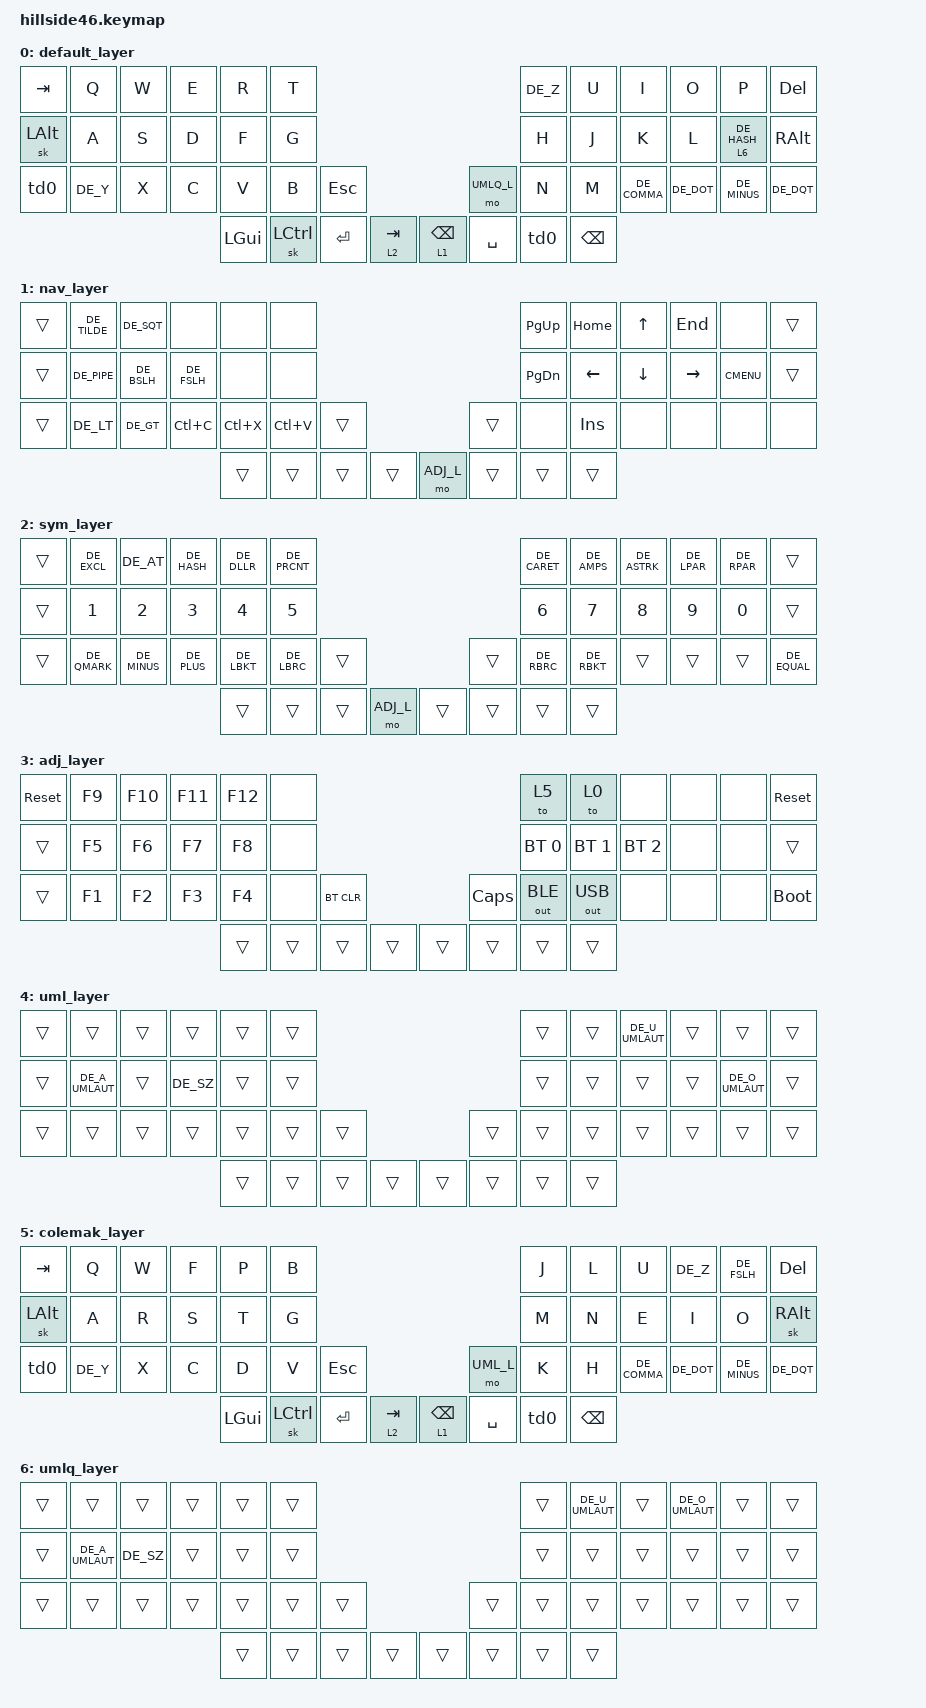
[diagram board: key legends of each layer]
/*
 * Copyright (c) 2021-2022 The ZMK Contributors
 *
 * SPDX-License-Identifier: MIT
 */

#include <behaviors.dtsi>
#include <dt-bindings/zmk/bt.h>
#include <dt-bindings/zmk/ext_power.h>
#include <dt-bindings/zmk/keys.h>
#include <dt-bindings/zmk/outputs.h>
#include "keys_de.h"

#define QWERTZ_L 0
#define NAV_L    1
#define SYM_L    2
#define ADJ_L    3
#define UML_L    4
#define COLEMK_L 5
#define UMLQ_L   6
#define Undo   LC(Z)
#define Cut    LC(X)
#define Copy   LC(C)
#define Paste  LC(V)
#define Redo   LC(Y)


/ {

        conditional_layers {
	    compatible = "zmk,conditional-layers";
	    tri_layer {
	        if-layers = <1 2>;
	        then-layer = <3>;
	    };
        };
        behaviors {
            td0: tap_dance_0 {
                compatible = "zmk,behavior-tap-dance";
                #binding-cells = <0>;
                tapping-term-ms = <200>;
                bindings = <&sk LSHIFT>, <&caps_word>, <&kp CAPS>;
            };
        };

        keymap {
                compatible = "zmk,keymap";

                default_layer {
/* QWERTZ
 * -------------------------------------------------------------------------------------------------------------------------------------
 * | `     |   Q   |   W   |   E   |   R   |   T   |-----------------------------------|   Z   |   U   |   I   |   O   |   P   | BKSPC |
 * | TAB   |   A   |   S   |   D   |   F   |   G   |-----------------------------------|   H   |   J   |   K   |   L   |   ;   | ENTER |
 * | CTRL  |   Y   |   X   |   C   |   V   |   B   |  ESC  |-------------------|  Uml  |   N   |   M   |   ,   |   .   |   /   |   '   |
 *                                 |  GUI  |  CTRL | ENTER |  Sym  |---|  Nav  | SPACE | SHIFT | BKSPC |
 */
                        bindings = <
&kp  TAB     &kp  Q        &kp  W        &kp  E        &kp  R        &kp  T                                                                         &kp  DE_Z        &kp  U        &kp  I        &kp  O        &kp  P         &kp  DELETE
&sk  LALT    &kp  A        &kp  S        &kp  D        &kp  F        &kp  G                                                                         &kp  H           &kp  J        &kp  K        &kp  L        &lt 6 DE_HASH  &kp  RALT  
&td0         &kp  DE_Y     &kp  X        &kp  C        &kp  V        &kp  B        &kp  ESC                                           &mo  UMLQ_L   &kp  N           &kp  M        &kp  DE_COMMA &kp  DE_DOT   &kp  DE_MINUS  &kp  DE_DQT
                                                       &kp  LGUI     &sk  LCTRL    &kp  ENTER     &lt 2 TAB          &lt 1 BSPC       &kp  SPACE    &td0             &kp  BSPC
                        >;
                };
		
                nav_layer {
/* NAV   
 * -------------------------------------------------------------------------------------------------------------------------------------
 * |       |   ~   |   '   |       |       |       |-----------------------------------| PG UP |  Home |   Up  | End   |       |       |
 * |       |   |   |   \   |   /   |       |       |-----------------------------------| PG DN |  Left |  Down | Right | Menu  |       |
 * |       |   <   |   >   | Copy  |  Cut  | Paste |       |-------------------|       |       |  Ins  |       |       |       |       |
 *                                 |       |       |       |       |---| ADJ_L |       |       |       |
 */
                        bindings = <
&trans        &kp  DE_TILDE &kp  DE_SQT   &none         &none         &none                                                                          &kp   PG_UP   &kp  HOME    &kp   UP      &kp   END     &none         &trans
&trans        &kp  DE_PIPE  &kp  DE_BSLH  &kp  DE_FSLH  &none         &none                                                                          &kp   PG_DN   &kp  LEFT    &kp   DOWN    &kp   RIGHT   &kp  K_CMENU  &trans
&trans        &kp  DE_LT    &kp  DE_GT    &kp  Copy     &kp  Cut      &kp  Paste    &trans                                             &trans        &none         &kp  INS     &none         &none         &none         &none
                                                        &trans        &trans        &trans        &trans                 &mo ADJ_L     &trans        &trans        &trans 
                        >;
                };

                sym_layer {
/* SYM
 * -------------------------------------------------------------------------------------------------------------------------------------
 * |       |   !   |   @   |   #   |   $   |   %   |-----------------------------------|   ^   |   &   |   *   |   (   |   )   |       |
 * |       |   1   |   2   |   3   |   4   |   5   |-----------------------------------|   6   |   7   |   8   |   9   |   0   |       |
 * |       |   ?   |   -   |   +   |   [   |   {   |       |-------------------|       |   }   |   ]   |       |       |       |   =   |
 *                                 |       |       |       |  ADJ_L |---|      |       |       |       |
 */
                        bindings = <
&trans        &kp  DE_EXCL  &kp  DE_AT    &kp  DE_HASH  &kp  DE_DLLR  &kp  DE_PRCNT                                                                  &kp  DE_CARET &kp  DE_AMPS &kp  DE_ASTRK &kp  DE_LPAR  &kp  DE_RPAR  &trans
&trans        &kp  N1       &kp  N2       &kp  N3       &kp  N4       &kp  N5                                                                        &kp  N6       &kp  N7      &kp  N8       &kp  N9       &kp  N0       &trans
&trans        &kp  DE_QMARK &kp  DE_MINUS &kp  DE_PLUS  &kp  DE_LBKT  &kp  DE_LBRC  &trans                                             &trans        &kp  DE_RBRC  &kp  DE_RBKT &trans        &trans        &trans        &kp DE_EQUAL
                                                        &trans        &trans        &trans       &mo  ADJ_L               &trans       &trans        &trans        &trans
                        >;
                };
		
                adj_layer {
/* ADJUST
 * -------------------------------------------------------------------------------------------------------------------------------------
 * | RESET |  F9   |  F10  |  F11  |  F12  |       |-----------------------------------| CMK   | QWERTZ|       |       |       | RESET |
 * |       |  F5   |  F6   |  F7   |  F8   |       |-----------------------------------| BT 0  |  BT 1 | BT 2  |       |       |       |
 * |       |  F1   |  F2   |  F3   |  F4   |       |BT CLR |-------------------| CAPS  |OUT_BLE|OUT_USB|       |       |       | BOOTL |
 *                                 |       |       |       |       |---|       |       |       |       |
 */
                        bindings = <
&sys_reset    &kp  F9       &kp  F10      &kp  F11      &kp  F12      &none                                                                             &to 5             &to 0              &none           &none   &none  &sys_reset
&trans        &kp  F5       &kp  F6       &kp  F7       &kp  F8       &none                                                                             &bt  BT_SEL 0     &bt  BT_SEL 1      &bt  BT_SEL 2   &none   &none  &trans
&trans        &kp  F1       &kp  F2       &kp  F3       &kp  F4       &none         &bt BT_CLR                                         &kp CAPS         &out  OUT_BLE     &out  OUT_USB      &none           &none   &none  &bootloader
                                                        &trans        &trans        &trans        &trans                 &trans        &trans           &trans            &trans 
                        >;
                };

                uml_layer {
/* ADJUST
 * -------------------------------------------------------------------------------------------------------------------------------------
 * |       |       |       |       |       |       |-----------------------------------|       |       |   Ü   |       |       |       |
 * |       |   ä   |       |   ß   |       |       |-----------------------------------|       |       |       |       |   Ö   |       |
 * |       |       |       |       |       |       |       |-------------------|       |       |       |       |       |       |       |
 *                                 |       |       |       |       |---|       |       |       |       |
 */
                        bindings = <
&trans        &trans           &trans        &trans             &trans        &trans                                                                            &trans            &trans             &kp DE_U_UMLAUT  &trans    &trans            &trans 
&trans        &kp DE_A_UMLAUT  &trans        &kp DE_SZ          &trans        &trans                                                                            &trans            &trans             &trans           &trans    &kp DE_O_UMLAUT   &trans
&trans        &trans           &trans        &trans             &trans        &trans        &trans                                             &trans           &trans            &trans             &trans           &trans    &trans            &trans 
                                                                &trans        &trans        &trans        &trans                 &trans        &trans           &trans            &trans 
                        >;
                }; 

   		colemak_layer {
/* COLEMAK-DH
 * -------------------------------------------------------------------------------------------------------------------------------------
 * | TAB   |   Q   |   W   |   F   |   P   |   B   |-----------------------------------|   J   |   L   |   U   |   Z   |   /   |  DEL  |
 * | ALT   |   A   |   R   |   S   |   T   |   G   |-----------------------------------|   M   |   N   |   E   |   I   |   O   | ALTGR |
 * | SHIFT |   Y   |   X   |   C   |   D   |   V   |  ESC  |-------------------| Uml   |   K   |   H   |   ,   |   .   |   -   |   "   |
 *                                 |  GUI  |  CTRL | ENTER |  Sym  |---|  Nav  | SPACE | SHIFT | BKSPC |
 */
                        bindings = <
&kp  TAB      &kp  Q        &kp  W        &kp  F        &kp  P        &kp  B                                                                               &kp  J               &kp  L        &kp  U           &kp  DE_Z        &kp  DE_FSLH     &kp  DELETE
&sk  LALT     &kp  A        &kp  R        &kp  S        &kp  T        &kp  G                                                                               &kp  M               &kp  N        &kp  E           &kp  I           &kp  O           &sk  RALT
&td0          &kp  DE_Y     &kp  X        &kp  C        &kp  D        &kp  V        &kp   ESC                                           &mo  UML_L         &kp  K               &kp  H        &kp  DE_COMMA    &kp  DE_DOT      &kp  DE_MINUS    &kp  DE_DQT
                                                        &kp  LGUI     &sk  LCTRL    &kp  ENTER     &lt 2 TAB          &lt 1 BSPC        &kp  SPACE         &td0                 &kp  BSPC
                        >;
                };


                umlq_layer {
/* ADJUST
 * -------------------------------------------------------------------------------------------------------------------------------------
 * |       |       |       |       |       |       |-----------------------------------|       |   ü   |       |   ö   |       |       |
 * |       |   ä   |    ß  |       |       |       |-----------------------------------|       |       |       |       |       |       |
 * |       |       |       |       |       |       |       |-------------------|       |       |       |       |       |       |       |
 *                                 |       |       |       |       |---|       |       |       |       |
 */
                        bindings = <
&trans        &trans           &trans              &trans           &trans        &trans                                                                            &trans            &kp DE_U_UMLAUT    &trans           &kp DE_O_UMLAUT    &trans            &trans 
&trans        &kp DE_A_UMLAUT  &kp DE_SZ           &trans           &trans        &trans                                                                            &trans            &trans             &trans           &trans             &trans            &trans
&trans        &trans           &trans              &trans           &trans        &trans        &trans                                             &trans           &trans            &trans             &trans           &trans             &trans            &trans 
                                                                    &trans        &trans        &trans        &trans                 &trans        &trans           &trans            &trans 
                        >;
                };


        };
};
